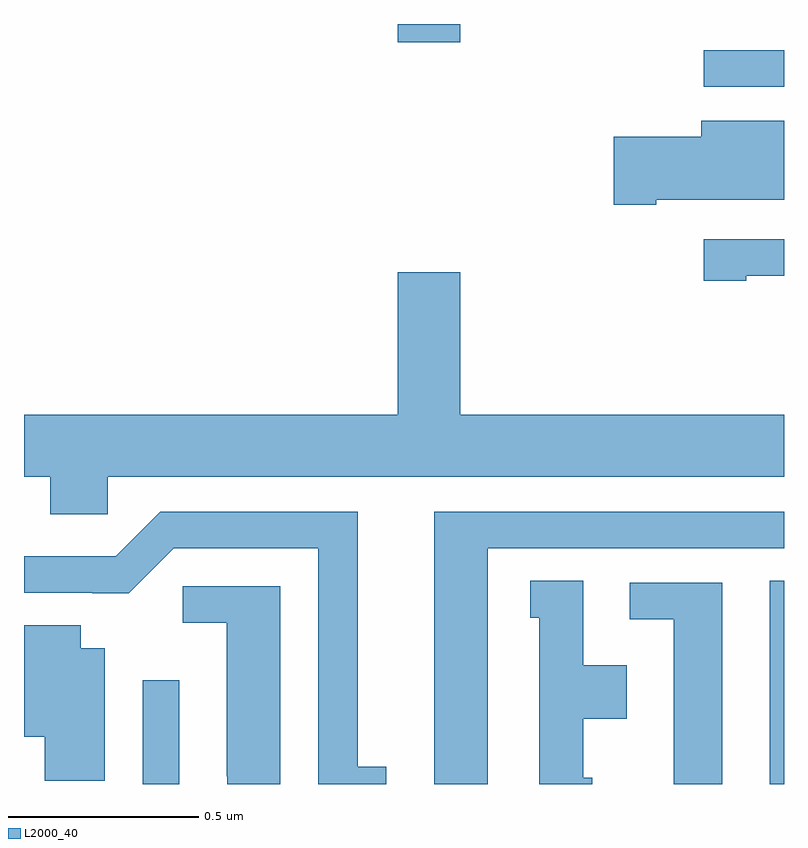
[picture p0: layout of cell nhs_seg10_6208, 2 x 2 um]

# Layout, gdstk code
import gdstk
lib = gdstk.Library(unit=1e-6, precision=1e-09)
def R(c, l, rs):  # rectangles x0, y0, x1, y1
    for r in rs: c.add(gdstk.rectangle(r[:2], r[2:], *l))
def P(c, l, *ps):  # polygons
    for p in ps: c.add(gdstk.Polygon(p, *l))
L2000_40 = (2000, 40)

nhs_seg10_6208 = lib.new_cell('nhs_seg10_6208')
R(nhs_seg10_6208, L2000_40, [(188.313,1307.5,188.409,1307.773), (189.962,1307.5,190,1308.035), (189.789,1309.335,190,1309.431), (188.984,1309.452,189.148,1309.5)])
P(nhs_seg10_6208, L2000_40, [(189.664,1309.037),(190,1309.037),(190,1309.246),(189.782,1309.246),(189.782,1309.203),(189.552,1309.203),(189.552,1309.025),(189.664,1309.025)],
  [(189.901,1308.837),(190,1308.837),(190,1308.933),(189.789,1308.933),(189.789,1308.825),(189.901,1308.825)],
  [(188.22,1308.308),(190,1308.308),(190,1308.472),(189.148,1308.472),(189.148,1308.847),(188.984,1308.847),(188.984,1308.472),(188,1308.472),(188,1308.308),(188.069,1308.308),(188.069,1308.21),(188.22,1308.21)],
  [(189.22,1308.12),(190,1308.12),(190,1308.216),(189.08,1308.216),(189.08,1307.5),(189.22,1307.5)],
  [(188.953,1307.546),(188.878,1307.546),(188.878,1308.216),(188.358,1308.216),(188.241,1308.099),(188,1308.099),(188,1308.003),(188.18,1308.003),(188.18,1308.002),(188.276,1308.002),(188.394,1308.12),(188.774,1308.12),(188.774,1307.5),(188.953,1307.5)],
  [(189.496,1307.517),(189.472,1307.517),(189.472,1307.672),(189.586,1307.672),(189.586,1307.812),(189.472,1307.812),(189.472,1308.035),(189.332,1308.035),(189.332,1307.937),(189.356,1307.937),(189.356,1307.5),(189.496,1307.5)],
  [(189.838,1308.03),(189.594,1308.03),(189.594,1307.934),(189.71,1307.934),(189.71,1307.5),(189.838,1307.5)],
  [(188.674,1308.021),(188.418,1308.021),(188.418,1307.924),(188.534,1307.924),(188.534,1307.521),(188.535,1307.521),(188.535,1307.5),(188.674,1307.5)],
  [(188.212,1307.857),(188.149,1307.857),(188.149,1307.918),(188,1307.918),(188,1307.624),(188.054,1307.624),(188.054,1307.509),(188.212,1307.509)])

lib.write_gds('nhs_seg10_6208.gds')
